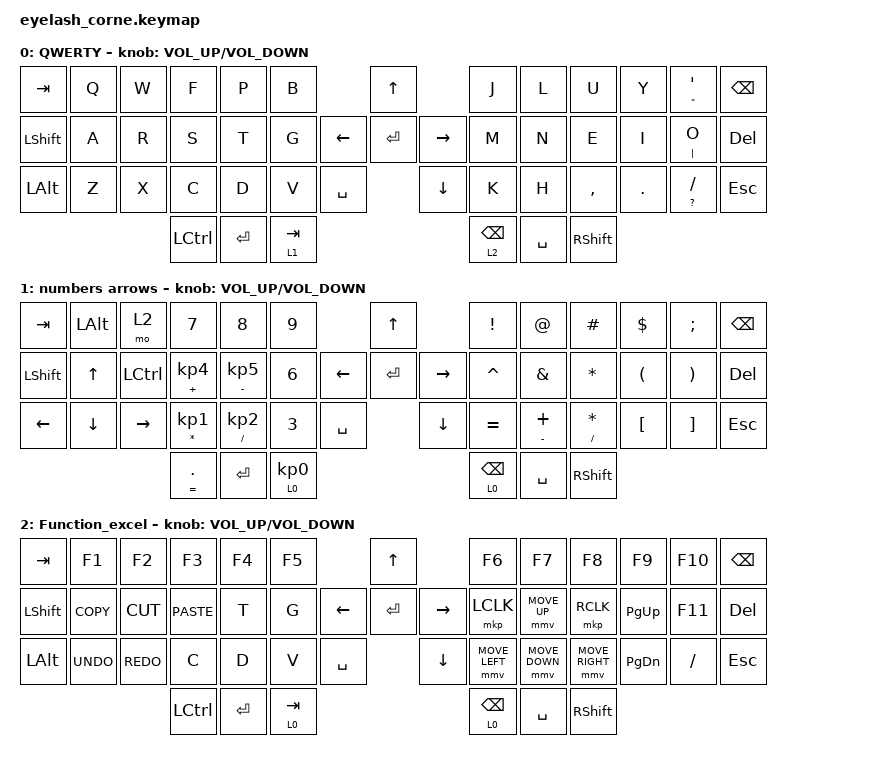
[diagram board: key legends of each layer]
#define ZMK_POINTING_DEFAULT_MOVE_VAL 1200  // 600
#define ZMK_POINTING_DEFAULT_SCRL_VAL 25   // 10

#include <input/processors.dtsi>
#include <zephyr/dt-bindings/input/input-event-codes.h>
#include <behaviors.dtsi>
#include <dt-bindings/zmk/keys.h>
#include <dt-bindings/zmk/pointing.h>
#include <dt-bindings/zmk/rgb.h>

&mmv_input_listener { input-processors = <&zip_xy_scaler 2 1>; };

&msc_input_listener { input-processors = <&zip_scroll_scaler 2 1>; };

&msc {
    acceleration-exponent = <1>;      // 0
    time-to-max-speed-ms = <100>;       // 300
    delay-ms = <0>;                   // 0
};

&mmv {
    time-to-max-speed-ms = <500>;
    acceleration-exponent = <1>;
    trigger-period-ms = <16>;
};

/ {
    behaviors {
        td0: td0 {
            compatible = "zmk,behavior-tap-dance";
            display-name = "Shift/Caps Lock Tap Dance";
            #binding-cells = <0>;
            bindings = <&kp TAB>;
            label = "layer_lower";
            tapping-term-ms = <200>;
        };
    };

    rgb_encoder: rgb_encoder {
        compatible = "zmk,behavior-sensor-rotate";
        #sensor-binding-cells = <0>;
        bindings = <&rgb_ug RGB_BRI>, <&rgb_ug RGB_BRD>;
    };

    scroll_encoder: scroll_encoder {
        compatible = "zmk,behavior-sensor-rotate";
        #sensor-binding-cells = <0>;
        bindings = <&msc SCRL_DOWN>, <&msc SCRL_UP>;

        tap-ms = <100>;
    };

    combos {
        compatible = "zmk,combos";

        ESC_thumbs {
            bindings = <&kp ESC>;
            key-positions = <44 45>;
        };

        ESC_QW {
            bindings = <&kp ESC>;
            key-positions = <1 2>;
        };
    };

    keymap {
        compatible = "zmk,keymap";

        default_layer {
            display-name = "QWERTY";
            bindings = <
&kp TAB         &kp Q  &kp W  &kp F      &kp P      &kp B                             &kp UP                &kp J            &kp L      &kp U      &kp Y    &mt DOUBLE_QUOTES SQT  &kp BSPC
&kp LEFT_SHIFT  &kp A  &kp R  &kp S      &kp T      &kp G                   &kp LEFT  &kp ENTER  &kp RIGHT  &kp M            &kp N      &kp E      &kp I    &mt PIPE O             &kp DELETE
&kp LEFT_ALT    &kp Z  &kp X  &kp C      &kp D      &kp V      &kp SPACE              &kp DOWN              &kp K            &kp H      &kp COMMA  &kp DOT  &mt QUESTION SLASH     &kp ESC
                              &kp LCTRL  &kp ENTER  &lt 1 TAB                                               &lt 2 BACKSPACE  &kp SPACE  &kp RSHFT
            >;

            sensor-bindings = <&inc_dec_kp C_VOLUME_UP C_VOLUME_DOWN>;
        };

        lower_layer {
            display-name = "numbers arrows";
            bindings = <
&kp TAB         &kp LEFT_ALT  &mo 2      &kp N7                    &kp N8                 &kp N9                                    &kp UP                &kp EXCLAMATION  &kp AT_SIGN     &kp HASH            &kp DOLLAR            &kp SEMI               &kp BSPC
&kp LEFT_SHIFT  &kp UP_ARROW  &kp LCTRL  &mt PLUS KP_NUMBER_4      &mt MINUS KP_NUMBER_5  &kp N6                          &kp LEFT  &kp ENTER  &kp RIGHT  &kp CARET        &kp AMPERSAND   &kp ASTERISK        &kp LEFT_PARENTHESIS  &kp RIGHT_PARENTHESIS  &kp DELETE
&kp LEFT_ARROW  &kp DOWN      &kp RIGHT  &mt ASTERISK KP_NUMBER_1  &mt SLASH KP_NUMBER_2  &kp N3             &kp SPACE              &kp DOWN              &kp EQUAL        &mt MINUS PLUS  &mt SLASH ASTERISK  &kp LEFT_BRACKET      &kp RIGHT_BRACKET      &kp ESC
                                         &mt EQUAL PERIOD          &kp ENTER              &lt 0 KP_NUMBER_0                                               &lt 0 BACKSPACE  &kp SPACE       &kp RSHFT
            >;

            sensor-bindings = <&inc_dec_kp C_VOLUME_UP C_VOLUME_DOWN>;
        };

        Upper_layer {
            display-name = "Function_excel";
            bindings = <
&kp TAB         &kp F1      &kp F2      &kp F3       &kp F4     &kp F5                            &kp UP                &kp F6           &kp F7          &kp F8           &kp F9     &kp F10   &kp BSPC
&kp LEFT_SHIFT  &kp K_COPY  &kp K_CUT   &kp K_PASTE  &kp T      &kp G                   &kp LEFT  &kp ENTER  &kp RIGHT  &mkp LCLK        &mmv MOVE_UP    &mkp RCLK        &kp PG_UP  &kp F11   &kp DELETE
&kp LEFT_ALT    &kp K_UNDO  &kp K_REDO  &kp C        &kp D      &kp V      &kp SPACE              &kp DOWN              &mmv MOVE_LEFT   &mmv MOVE_DOWN  &mmv MOVE_RIGHT  &kp PG_DN  &kp FSLH  &kp ESC
                                        &kp LCTRL    &kp ENTER  &lt 0 TAB                                               &lt 0 BACKSPACE  &kp SPACE       &kp RSHFT
            >;

            sensor-bindings = <&inc_dec_kp C_VOLUME_UP C_VOLUME_DOWN>;
        };
    };
};
